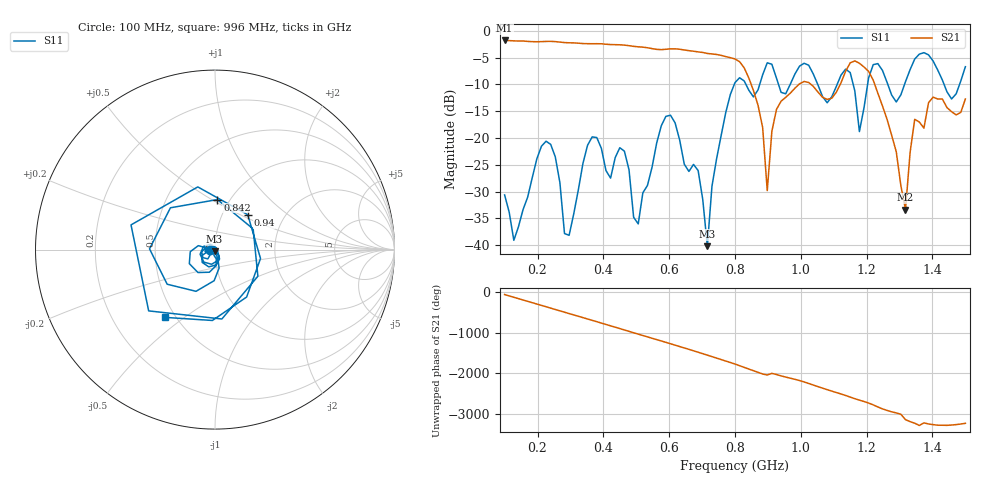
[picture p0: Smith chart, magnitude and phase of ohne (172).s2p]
! NanoVNA-App
! Date: 2025-09-25 14:22:08
! Start: 100MHz Stop: 1,5GHz Points: 101
! S-Parameter data: F S11 S21 S12 S22
# Hz S RI R 50
!  Frequency  S11_Real  S11_Imag  S21_Real  S21_Imag  S12_Real  S12_Imag  S22_Real  S22_Imag
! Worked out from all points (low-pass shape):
!   101 points, 100 MHz to 1.5 GHz, reference 50 ohm
!   highest |S21| = -1.79 dB at 100 MHz (marker M1); lowest = -33.4 dB at 1.318 GHz (marker M2)
!   |S21| within 3 dB of the highest: start of sweep to 770.9 MHz
!   lowest |S11| = -40.2 dB at 716 MHz (marker M3), VSWR 1.02, Z = 49.7 - j0.939 ohm
!   |S11| at or under -10 dB: start of sweep to 797.8 MHz; 833.2 MHz to 875.1 MHz (41.88 MHz wide, 4.9 % of centre); 1.051 GHz to 1.11 GHz (58.96 MHz wide, 5.45 % of centre) (the widest 3 of 7)
!   S12 and S22 are empty: the file has one direction only
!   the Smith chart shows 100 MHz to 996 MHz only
!   S11 on the Smith chart (normalised r, x): 100 MHz: 0.94, -0.01; 842 MHz: 0.88, +0.53; 940 MHz: 1.32, +0.55; 996 MHz: 0.44, -0.43
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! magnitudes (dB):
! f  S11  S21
! 100 MHz  -30.6  -1.8
! 128 MHz  -39.1  -1.9
! 226 MHz  -20.6  -2.0
! 296 MHz  -38.2  -2.2
! 338 MHz  -24.8  -2.4
! 464 MHz  -22.5  -2.7
! 506 MHz  -36.0  -3.0
! 576 MHz  -17.7  -3.5
! 688 MHz  -26.1  -3.9
! 716 MHz  -40.2  -4.2
! 800 MHz  -9.7  -5.3
! 842 MHz  -11.1  -8.8
! 898 MHz  -6.0  -29.8
! 940 MHz  -11.5  -13.1
! 996 MHz  -6.6  -9.9
! 1.038 GHz  -8.1  -10.4
! 1.178 GHz  -18.8  -6.0
! 1.22 GHz  -6.3  -9.2
! 1.276 GHz  -12.0  -19.5
! 1.318 GHz  -9.5  -33.4
! 1.346 GHz  -5.3  -16.5
! 1.5 GHz  -6.7  -12.7
